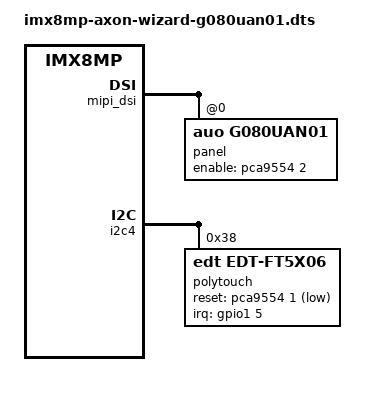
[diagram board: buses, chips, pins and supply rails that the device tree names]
// SPDX-License-Identifier: (GPL-2.0+ OR MIT)
/*
 * Copyright 2020 Technexion Ltd.
 *
 * Author: Richard Hu <richard.hu@technexion.com>
 *
 */

#include "imx8mp-axon-wizard.dts"

/ {
	reg_mipi_pwr: regulator_mipipwr {
		regulator-always-on;
		status = "okay";
	};

	mipi_backlight: mipi_backlight {
		status = "okay";
	};
};

&mipi_dsi {
	status = "okay";
	panel@0 {
		compatible = "auo,g080uan01";
		reg = <0>;
		enable-gpios = <&pca9554 2 GPIO_ACTIVE_HIGH>;
		status = "okay";
	};
};

&i2c4 {
	polytouch: edt-ft5626@38 {
		compatible = "edt,edt-ft5x06";
		pinctrl-names = "default";
		pinctrl-0 = <&pinctrl_ft5336_touch_irq>;
		reg = <0x38>;
		interrupt-parent = <&gpio1>;
		interrupts = <5 IRQ_TYPE_EDGE_FALLING>;
		reset-gpios = <&pca9554 1 GPIO_ACTIVE_LOW>;
		touchscreen-size-x = <1200>;
		touchscreen-size-y = <1920>;
		status="okay";
	};
};
